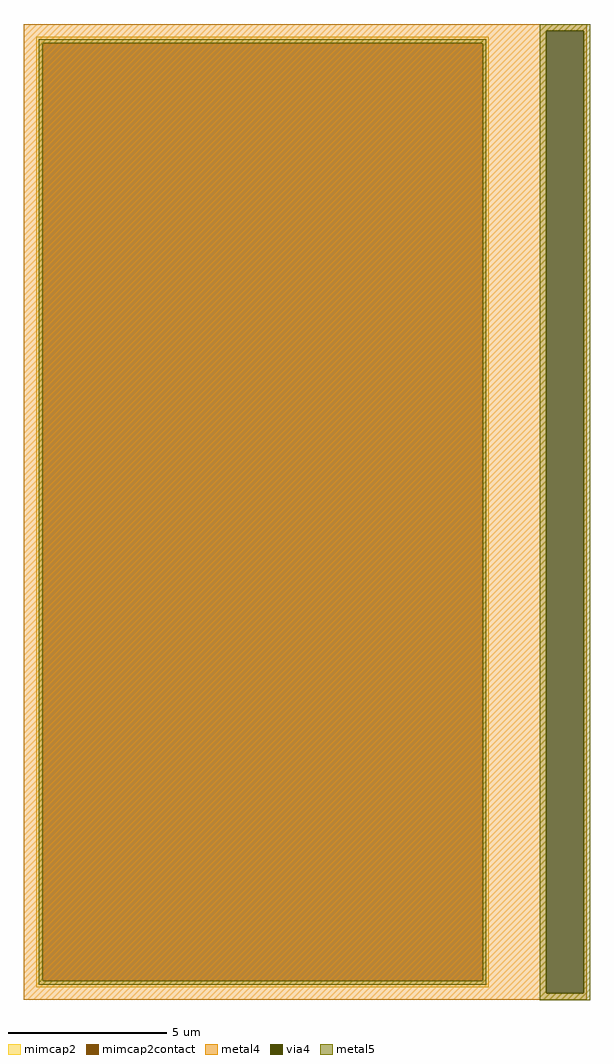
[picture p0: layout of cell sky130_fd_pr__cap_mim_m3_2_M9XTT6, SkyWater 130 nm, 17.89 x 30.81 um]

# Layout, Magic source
magic
tech sky130B
magscale 1 2
<< metal4 >>
rect -1778 3039 1778 3080
rect -1778 -3039 1522 3039
rect 1758 -3039 1778 3039
rect -1778 -3080 1778 -3039
<< via4 >>
rect 1522 -3039 1758 3039
<< mimcap2 >>
rect -1698 2960 1160 3000
rect -1698 -2960 -1658 2960
rect 1120 -2960 1160 2960
rect -1698 -3000 1160 -2960
<< mimcap2contact >>
rect -1658 -2960 1120 2960
<< metal5 >>
rect 1480 3039 1800 3081
rect -1682 2960 1144 2984
rect -1682 -2960 -1658 2960
rect 1120 -2960 1144 2960
rect -1682 -2984 1144 -2960
rect 1480 -3039 1522 3039
rect 1758 -3039 1800 3039
rect 1480 -3081 1800 -3039
<< properties >>
string FIXED_BBOX -1778 -3080 1240 3080
string gencell sky130_fd_pr__cap_mim_m3_2
string library sky130
string parameters w 14.29 l 30 val 874.23 carea 2.00 cperi 0.19 nx 1 ny 1 dummy 0 square 0 lmin 2.00 wmin 2.00 lmax 30.0 wmax 30.0 dc 0 bconnect 1 tconnect 1 ccov 100
<< end >>
